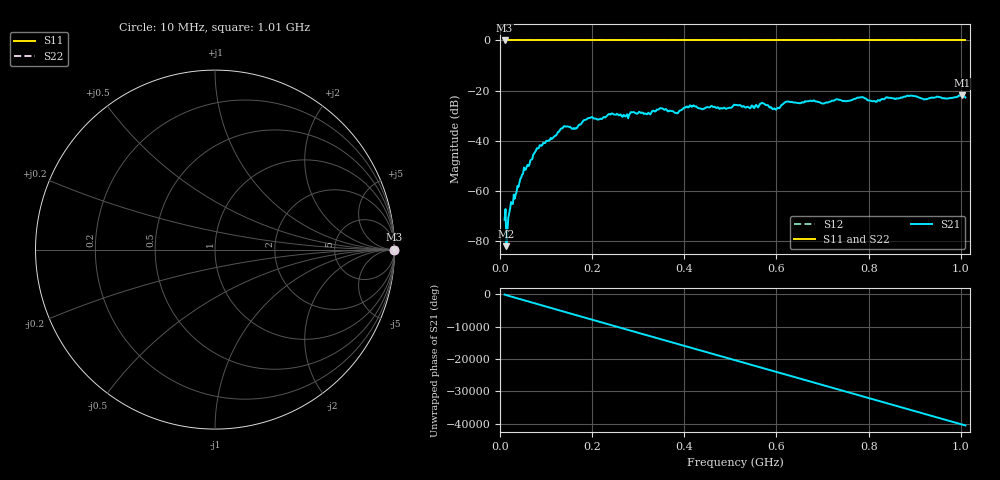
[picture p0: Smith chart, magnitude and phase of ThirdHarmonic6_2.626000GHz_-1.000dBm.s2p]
! 8/17/2025 5:50:38 AM
! C:\ANRITSUVNA\TEMP\TEMP.S2P
! CHANNEL.1
! TR.MEASUREMENT
! RAW.DATA
! RF.CORRECTION.OFF
! AVERAGING.OFF
! IF.BANDWIDTH: 5KHZ
! SWEEPTYPE:  FREQ.SWEEP(Linear)
! Reference Plane Port Info
! PORT:  PORT1  PORT2
! DISTANCE:  0  m  0  m
! TIME:  0  s  0  s
! PHASE.OFFSET:  0  deg.  0  deg.
! LOSS:  0  dB  0  dB
! REF.LOSS:  0  dB  0  dB
! REF.FREQ:  0  Hz  0  Hz
! Power Info
! POWER:  -20  dBm  -20  dBm
! EFF.POWER:  -20  dBm  -20  dBm
! SOURCE.ATTEN:  0  dB  0  dB
! TEST.ATTEN:  0  dB  0  dB
# GHZ S RI R 50.0
! FREQ.GHZ  S11RE  S11IM  S21RE  S21IM  S12RE  S12IM  S22RE  S22IM
!; PortSelection: Port_12
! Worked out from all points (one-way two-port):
!   501 points, 10 MHz to 1.01 GHz, reference 50 ohm
!   highest |S21| = -21.95 dB at 1.002 GHz (marker M1); lowest = -82.1 dB at 14 MHz (marker M2)
!   lowest |S11| = 0.0 dB at 10 MHz (marker M3)
!   |S11| at or under -10 dB: nowhere
!   |S22| runs from 0.0 to 0.0 dB; largest |S21 - S12| = 1.1
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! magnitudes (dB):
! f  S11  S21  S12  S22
! 10 MHz  0.0  -71.6  0.0  0.0
! 14 MHz  0.0  -82.1  0.0  0.0
! 18 MHz  0.0  -70.8  0.0  0.0
! 26 MHz  0.0  -65.2  0.0  0.0
! 48 MHz  0.0  -53.5  0.0  0.0
! 78 MHz  0.0  -44.0  0.0  0.0
! 136 MHz  0.0  -35.0  0.0  0.0
! 162 MHz  0.0  -35.3  0.0  0.0
! 178 MHz  0.0  -32.8  0.0  0.0
! 240 MHz  0.0  -29.6  0.0  0.0
! 276 MHz  0.0  -29.5  0.0  0.0
! 344 MHz  0.0  -27.6  0.0  0.0
! 382 MHz  0.0  -28.9  0.0  0.0
! 416 MHz  0.0  -26.5  0.0  0.0
! 510 MHz  0.0  -25.7  0.0  0.0
! 570 MHz  0.0  -25.0  0.0  0.0
! 596 MHz  0.0  -27.2  0.0  0.0
! 622 MHz  0.0  -24.4  0.0  0.0
! 678 MHz  0.0  -24.2  0.0  0.0
! 844 MHz  0.0  -22.9  0.0  0.0
! 1.002 GHz  0.0  -22.0  0.0  0.0
! 1.01 GHz  0.0  -22.8  0.0  0.0
